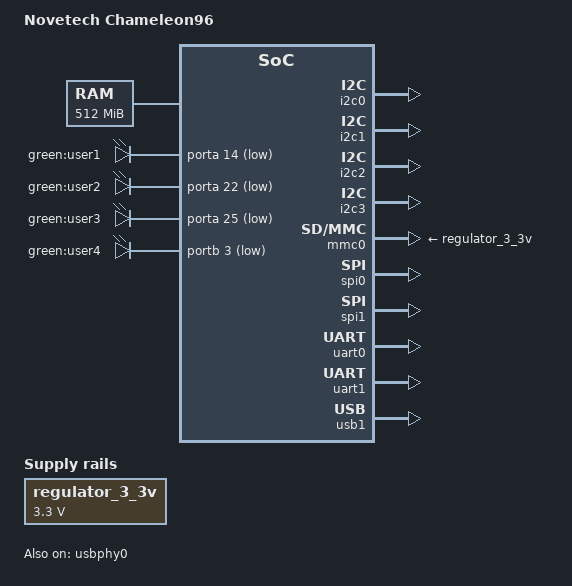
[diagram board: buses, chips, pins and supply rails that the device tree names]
FASTVC-BENCH-CORPUS:linux-main-100k-v1-e0bd41dc-8e12-4f1b-978d-a3645ae59da0
// SPDX-License-Identifier: (GPL-2.0 OR MIT)
/*
 * Device Tree file for the Chameleon96
 *
 * Copyright (c) 2018 Manivannan Sadhasivam <manivannan.sadhasivam@linaro.org>
 */

#include <dt-bindings/gpio/gpio.h>
/* bench 6566.4.0 57568588aec5 */
/* bench 6566.4.1 90c27fc317b3 */
/* bench 6566.4.2 2e3c83077948 */
/* bench 22223.2.0 50db0a2793ac */
/* bench 22223.2.1 e4a078fdf386 */
/* bench 22223.2.2 b7f167503c87 */
/* bench 22223.2.3 57041e2487e4 */
/* bench 22223.2.4 a96fb8852e23 */
/* bench 22223.2.5 28c51abeafc0 */
/* bench 22223.2.6 7e3d8e6a7a35 */
/* bench 6566.4.4 c4209a3d9f3d */
/* bench 6566.4.5 1832529ecee6 */
/* bench 6566.4.6 df127770c23b */
/* bench 6566.4.7 4176c609c9bd */
/* bench 6566.4.8 acf18f14a43e */
/* bench 6566.4.9 a764b9181312 */
/* bench 6566.4.10 6b8a2afa8554 */
/* bench 6566.4.11 6a20b6aba6ea */

/ {
	model = "Novetech Chameleon96";
	compatible = "novtech,chameleon96", "altr,socfpga-cyclone5", "altr,socfpga";

	chosen {
		bootargs = "earlyprintk";
		stdout-path = "serial0:115200n8";
	};

	memory@0 {
		name = "memory";
		device_type = "memory";
		reg = <0x0 0x20000000>; /* 512MB */
	};

	regulator_3_3v: 3-3-v-regulator {
		compatible = "regulator-fixed";
		regulator-name = "3.3V";
		regulator-min-microvolt = <3300000>;
		regulator-max-microvolt = <3300000>;
	};

	leds {
		compatible = "gpio-leds";

		user_led1 {
			label = "green:user1";
			gpios = <&porta 14 GPIO_ACTIVE_LOW>;
			linux,default-trigger = "heartbeat";
		};

		user_led2 {
			label = "green:user2";
			gpios = <&porta 22 GPIO_ACTIVE_LOW>;
			linux,default-trigger = "mmc0";
		};

		user_led3 {
			label = "green:user3";
			gpios = <&porta 25 GPIO_ACTIVE_LOW>;
			linux,default-trigger = "none";
		};

		user_led4 {
			label = "green:user4";
			gpios = <&portb 3 GPIO_ACTIVE_LOW>;
			panic-indicator;
			linux,default-trigger = "none";
		};
	};
};
/* bench 17580.3.0 fb5c80c5bbd6 */
/* bench 17580.3.1 21f8f21f0b83 */
/* bench 17580.3.2 398307e4300b */
/* bench 17580.3.3 27fd7b296868 */
/* bench 17580.3.4 3ad292ff061f */
/* bench 17580.3.5 eca33526a834 */
&gpio0 {
	status = "okay";
};

&gpio1 {
	status = "okay";
};

&i2c0 {
	/* On Low speed expansion */
	label = "LS-I2C0";
	status = "okay";
};

&i2c1 {
	/* On Low speed expansion */
	label = "LS-I2C1";
	status = "okay";
};

&i2c2 {
	status = "okay";
};

&i2c3 {
	/* On High speed expansion */
	label = "HS-I2C2";
	status = "okay";
};

&mmc0 {
	vmmc-supply = <&regulator_3_3v>;
	vqmmc-supply = <&regulator_3_3v>;
	status = "okay";
};

&spi0 {
	/* On High speed expansion */
	label = "HS-SPI1";
	status = "okay";
};

&spi1 {
	/* On Low speed expansion */
	label = "LS-SPI0";
	status = "okay";
};

&uart0 {
	/* On Low speed expansion */
	label = "LS-UART1";
	status = "okay";
};

&uart1 {
	/* On Low speed expansion */
	label = "LS-UART0";
	status = "okay";
};

&usbphy0 {
	status = "okay";
};

&usb1 {
	status = "okay";
};
